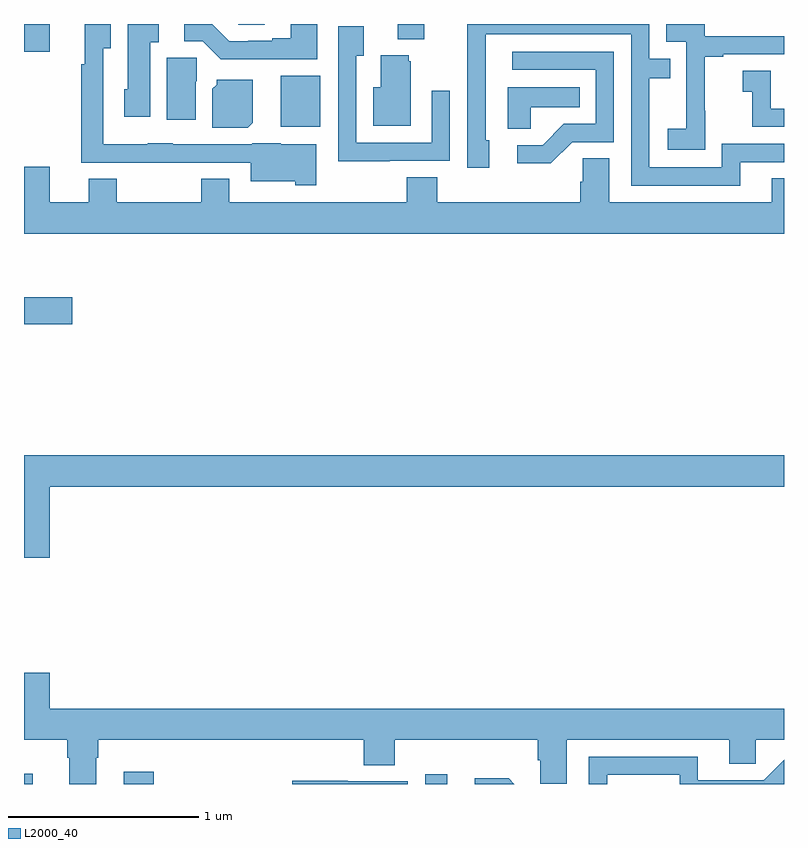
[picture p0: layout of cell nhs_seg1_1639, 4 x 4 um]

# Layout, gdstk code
import gdstk
lib = gdstk.Library(unit=1e-6, precision=1e-09)
def R(c, l, rs):  # rectangles x0, y0, x1, y1
    for r in rs: c.add(gdstk.rectangle(r[:2], r[2:], *l))
def P(c, l, *ps):  # polygons
    for p in ps: c.add(gdstk.Polygon(p, *l))
L2000_40 = (2000, 40)

nhs_seg1_1639 = lib.new_cell('nhs_seg1_1639')
R(nhs_seg1_1639, L2000_40, [(201,518.199,201.047,518.254), (201.524,518.199,201.683,518.263), (203.112,518.199,203.227,518.251), (201,520.619,201.253,520.761), (202.352,521.657,202.558,521.926), (201,522.054,201.136,522.199), (202.967,522.119,203.107,522.199), (202.128,522.196,202.267,522.199)])
P(nhs_seg1_1639, L2000_40, [(201.664,522.102),(201.709,522.102),(201.709,522.199),(201.545,522.199),(201.545,521.856),(201.527,521.856),(201.527,521.712),(201.664,521.712)],
  [(204.769,521.472),(205,521.472),(205,521.568),(204.672,521.568),(204.672,521.445),(204.291,521.445),(204.291,521.914),(204.401,521.914),(204.401,522.015),(204.291,522.015),(204.291,522.199),(203.332,522.199),(203.332,521.935),(203.334,521.935),(203.334,521.442),(203.449,521.442),(203.449,521.586),(203.43,521.586),(203.43,522.144),(204.195,522.144),(204.195,521.349),(204.769,521.349)],
  [(204.585,521.743),(204.584,521.743),(204.584,522.027),(204.679,522.027),(204.679,522.039),(205,522.039),(205,522.135),(204.582,522.135),(204.582,522.199),(204.381,522.199),(204.381,522.105),(204.486,522.105),(204.486,521.876),(204.485,521.876),(204.485,521.647),(204.387,521.647),(204.387,521.537),(204.585,521.537)],
  [(202.543,522.199),(202.403,522.199),(202.403,522.124),(202.307,522.124),(202.307,522.111),(202.18,522.111),(202.18,522.108),(202.08,522.108),(201.99,522.199),(201.843,522.199),(201.843,522.108),(201.942,522.108),(202.036,522.014),(202.543,522.014)],
  [(202.537,521.566),(202.35,521.566),(202.35,521.572),(202.2,521.572),(202.2,521.565),(201.783,521.565),(201.783,521.572),(201.651,521.572),(201.651,521.566),(201.417,521.566),(201.417,522.071),(201.457,522.071),(201.457,522.199),(201.32,522.199),(201.32,521.987),(201.301,521.987),(201.301,521.469),(201.551,521.469),(201.551,521.468),(201.783,521.468),(201.783,521.469),(202.193,521.469),(202.193,521.372),(202.428,521.372),(202.428,521.351),(202.537,521.351)],
  [(202.925,521.478),(203.241,521.478),(203.241,521.847),(203.145,521.847),(203.145,521.574),(202.749,521.574),(202.749,522.031),(202.789,522.031),(202.789,522.187),(202.653,522.187),(202.653,521.477),(202.925,521.477)],
  [(203.886,521.577),(204.105,521.577),(204.105,522.054),(203.571,522.054),(203.571,521.958),(204.009,521.958),(204.009,521.673),(203.84,521.673),(203.729,521.562),(203.595,521.562),(203.595,521.465),(203.773,521.465)],
  [(203.035,522.003),(203.024,522.003),(203.024,522.034),(202.877,522.034),(202.877,521.866),(202.838,521.866),(202.838,521.663),(203.035,521.663)],
  [(201.904,521.898),(201.908,521.898),(201.908,522.021),(201.752,522.021),(201.752,521.694),(201.904,521.694)],
  [(205,521.754),(204.93,521.754),(204.93,521.953),(204.783,521.953),(204.783,521.843),(204.832,521.843),(204.832,521.658),(205,521.658)],
  [(202.204,521.68),(202.204,521.905),(202.014,521.905),(202.014,521.88),(201.992,521.858),(201.992,521.654),(202.178,521.654)],
  [(203.667,521.762),(203.924,521.762),(203.924,521.866),(203.546,521.866),(203.546,521.647),(203.667,521.647)],
  [(205,521.387),(204.935,521.387),(204.935,521.26),(204.079,521.26),(204.079,521.492),(203.94,521.492),(203.94,521.369),(203.927,521.369),(203.927,521.26),(203.174,521.26),(203.174,521.393),(203.014,521.393),(203.014,521.26),(202.081,521.26),(202.081,521.384),(201.934,521.384),(201.934,521.26),(201.489,521.26),(201.489,521.384),(201.341,521.384),(201.341,521.26),(201.136,521.26),(201.136,521.449),(201,521.449),(201,521.096),(205,521.096)],
  [(201.136,519.764),(205,519.764),(205,519.928),(201,519.928),(201,519.39),(201.136,519.39)],
  [(201.379,518.336),(201.392,518.336),(201.392,518.432),(202.787,518.432),(202.787,518.299),(202.952,518.299),(202.952,518.432),(203.705,518.432),(203.705,518.323),(203.718,518.323),(203.718,518.2),(203.857,518.2),(203.857,518.432),(204.713,518.432),(204.713,518.305),(204.852,518.305),(204.852,518.432),(205,518.432),(205,518.596),(201.136,518.596),(201.136,518.785),(201,518.785),(201,518.432),(201.227,518.432),(201.227,518.336),(201.239,518.336),(201.239,518.199),(201.379,518.199)],
  [(204.069,518.247),(204.45,518.247),(204.45,518.199),(205,518.199),(205,518.326),(204.894,518.22),(204.547,518.22),(204.547,518.343),(203.973,518.343),(203.973,518.199),(204.069,518.199)],
  [(203.551,518.228),(203.373,518.228),(203.373,518.199),(203.58,518.199)],
  [(203.019,518.214),(202.703,518.214),(202.703,518.216),(202.411,518.216),(202.411,518.199),(203.019,518.199)])

lib.write_gds('nhs_seg1_1639.gds')
